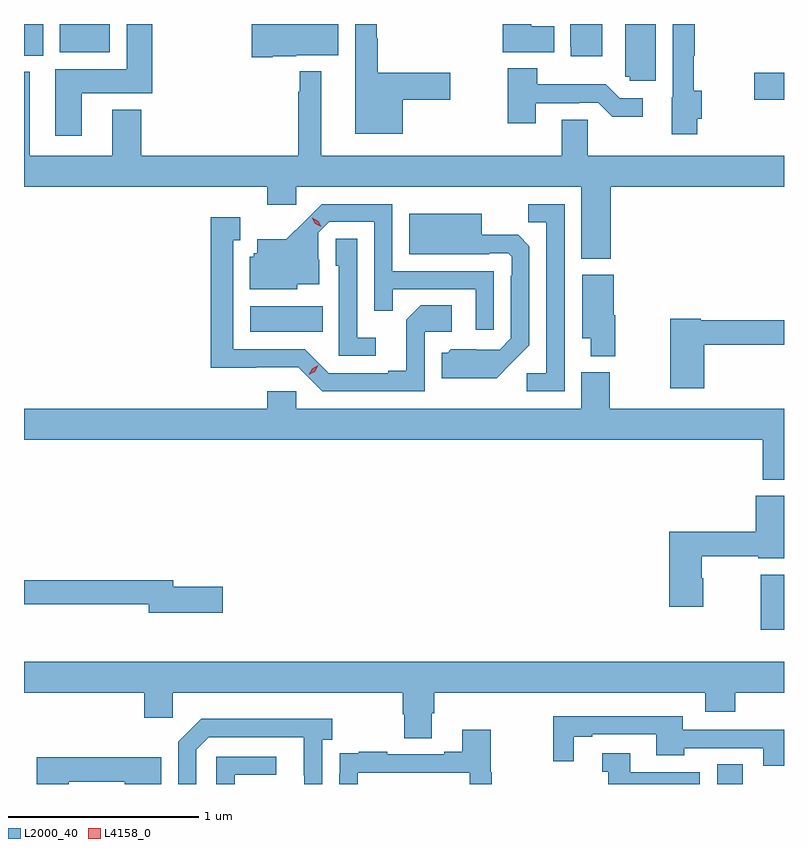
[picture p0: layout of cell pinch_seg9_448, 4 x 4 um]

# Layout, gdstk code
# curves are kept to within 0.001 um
import gdstk
lib = gdstk.Library(unit=1e-6, precision=1e-09)
def R(c, l, rs):  # rectangles x0, y0, x1, y1
    for r in rs: c.add(gdstk.rectangle(r[:2], r[2:], *l))
def P(c, l, *ps):  # polygons
    for p in ps: c.add(gdstk.Polygon(p, *l))
L2000_40 = (2000, 40)
L4158_0 = (4158, 0)

pinch_seg9_448 = lib.new_cell('pinch_seg9_448')
R(pinch_seg9_448, L2000_40, [(259.046,1187.949,259.18,1188.053), (259.276,1188.762,259.398,1189.051), (256.59,1190.33,256.97,1190.464), (259.242,1191.55,259.398,1191.692), (255.398,1191.782,255.499,1191.949), (255.587,1191.8,255.85,1191.949)])
P(pinch_seg9_448, L2000_40, [(258.442,1191.949),(258.273,1191.949),(258.273,1191.828),(258.275,1191.828),(258.275,1191.779),(258.442,1191.779)],
  [(258.724,1191.949),(258.563,1191.949),(258.563,1191.672),(258.585,1191.672),(258.585,1191.651),(258.724,1191.651)],
  [(258.188,1191.938),(258.067,1191.938),(258.067,1191.949),(257.918,1191.949),(257.918,1191.8),(258.188,1191.8)],
  [(258.942,1191.45),(258.964,1191.45),(258.964,1191.599),(258.922,1191.599),(258.922,1191.782),(258.929,1191.782),(258.929,1191.949),(258.813,1191.949),(258.813,1191.564),(258.806,1191.564),(258.806,1191.368),(258.942,1191.368)],
  [(257.392,1191.55),(257.641,1191.55),(257.641,1191.692),(257.26,1191.692),(257.26,1191.875),(257.255,1191.875),(257.255,1191.949),(257.141,1191.949),(257.141,1191.371),(257.392,1191.371)],
  [(256.708,1191.779),(256.83,1191.779),(256.83,1191.785),(257.053,1191.785),(257.053,1191.949),(256.596,1191.949),(256.596,1191.773),(256.708,1191.773)],
  [(255.703,1191.584),(256.073,1191.584),(256.073,1191.949),(255.938,1191.949),(255.938,1191.712),(255.563,1191.712),(255.563,1191.36),(255.703,1191.36)],
  [(258.091,1191.531),(258.32,1191.531),(258.32,1191.534),(258.42,1191.534),(258.493,1191.461),(258.654,1191.461),(258.654,1191.558),(258.534,1191.558),(258.461,1191.631),(258.099,1191.631),(258.099,1191.715),(257.944,1191.715),(257.944,1191.426),(258.091,1191.426)],
  [(258.485,1191.092),(259.398,1191.092),(259.398,1191.256),(258.366,1191.256),(258.366,1191.446),(258.227,1191.446),(258.227,1191.256),(256.963,1191.256),(256.963,1191.7),(256.849,1191.7),(256.849,1191.593),(256.842,1191.593),(256.842,1191.256),(256.016,1191.256),(256.016,1191.499),(255.863,1191.499),(255.863,1191.256),(255.427,1191.256),(255.427,1191.697),(255.398,1191.697),(255.398,1191.092),(256.679,1191.092),(256.679,1190.997),(256.83,1190.997),(256.83,1191.092),(258.332,1191.092),(258.332,1190.714),(258.485,1190.714)],
  [(257.871,1190.649),(257.337,1190.649),(257.337,1191),(256.964,1191),(256.777,1190.815),(256.625,1190.815),(256.625,1190.742),(256.608,1190.742),(256.608,1190.724),(256.586,1190.724),(256.586,1190.552),(256.836,1190.552),(256.836,1190.579),(256.951,1190.579),(256.951,1190.708),(256.947,1190.708),(256.947,1190.85),(257.004,1190.907),(257.241,1190.907),(257.241,1190.44),(257.339,1190.44),(257.339,1190.553),(257.775,1190.553),(257.775,1190.34),(257.871,1190.34)],
  [(258.243,1191),(258.052,1191),(258.052,1190.905),(258.147,1190.905),(258.147,1190.112),(258.045,1190.112),(258.045,1190.016),(258.243,1190.016)],
  [(257.965,1190.165),(258.057,1190.258),(258.057,1190.78),(257.998,1190.839),(257.806,1190.839),(257.806,1190.95),(257.426,1190.95),(257.426,1190.738),(257.846,1190.738),(257.846,1190.742),(257.946,1190.742),(257.964,1190.724),(257.964,1190.624),(257.961,1190.624),(257.961,1190.295),(257.901,1190.235),(257.644,1190.236),(257.628,1190.22),(257.597,1190.22),(257.597,1190.084),(257.885,1190.084)],
  [(257.508,1190.328),(257.65,1190.328),(257.65,1190.468),(257.485,1190.468),(257.409,1190.392),(257.409,1190.125),(257.315,1190.125),(257.315,1190.112),(257.001,1190.112),(256.875,1190.238),(256.498,1190.238),(256.498,1190.811),(256.537,1190.811),(256.537,1190.932),(256.38,1190.932),(256.38,1190.141),(256.842,1190.142),(256.968,1190.016),(257.508,1190.016)],
  [(257.248,1190.299),(257.151,1190.299),(257.151,1190.819),(257.04,1190.819),(257.04,1190.676),(257.055,1190.676),(257.055,1190.202),(257.248,1190.202)],
  [(258.51,1190.415),(258.502,1190.415),(258.502,1190.629),(258.335,1190.629),(258.335,1190.294),(258.38,1190.294),(258.38,1190.201),(258.51,1190.201)],
  [(258.977,1190.262),(259.398,1190.262),(259.398,1190.39),(258.96,1190.39),(258.96,1190.398),(258.799,1190.398),(258.799,1190.031),(258.977,1190.031)],
  [(259.398,1189.924),(258.48,1189.924),(258.48,1190.116),(258.332,1190.116),(258.332,1189.924),(256.83,1189.924),(256.83,1190.017),(256.679,1190.017),(256.679,1189.924),(255.398,1189.924),(255.398,1189.76),(259.285,1189.76),(259.285,1189.55),(259.398,1189.55)],
  [(258.972,1189.032),(258.964,1189.032),(258.964,1189.147),(259.262,1189.147),(259.262,1189.136),(259.398,1189.136),(259.398,1189.465),(259.25,1189.465),(259.25,1189.276),(258.794,1189.276),(258.794,1188.882),(258.972,1188.882)],
  [(256.444,1188.986),(256.183,1188.986),(256.183,1189.022),(255.398,1189.022),(255.398,1188.894),(256.055,1188.894),(256.055,1188.851),(256.444,1188.851)],
  [(257.545,1188.322),(257.558,1188.322),(257.558,1188.428),(258.983,1188.428),(258.983,1188.329),(259.142,1188.329),(259.142,1188.428),(259.398,1188.428),(259.398,1188.592),(255.398,1188.592),(255.398,1188.428),(256.031,1188.428),(256.031,1188.297),(256.182,1188.297),(256.182,1188.428),(257.392,1188.428),(257.392,1188.315),(257.398,1188.315),(257.398,1188.19),(257.545,1188.19)],
  [(259.398,1188.234),(258.865,1188.234),(258.865,1188.306),(258.183,1188.306),(258.183,1188.069),(258.292,1188.069),(258.292,1188.198),(258.388,1188.198),(258.388,1188.21),(258.725,1188.21),(258.725,1188.101),(258.873,1188.101),(258.873,1188.138),(259.289,1188.138),(259.289,1188.045),(259.398,1188.045)],
  [(256.305,1188.129),(256.371,1188.195),(256.871,1188.195),(256.872,1187.949),(256.968,1187.949),(256.968,1188.182),(257.02,1188.182),(257.02,1188.292),(256.33,1188.292),(256.209,1188.171),(256.209,1187.949),(256.305,1187.949)],
  [(257.154,1188.009),(257.745,1188.009),(257.745,1187.949),(257.861,1187.949),(257.861,1188.012),(257.854,1188.012),(257.854,1188.235),(257.705,1188.235),(257.705,1188.118),(257.609,1188.118),(257.609,1188.105),(257.309,1188.105),(257.309,1188.118),(257.161,1188.118),(257.161,1188.111),(257.059,1188.111),(257.059,1188.002),(257.058,1188.002),(257.058,1187.949),(257.154,1187.949)],
  [(258.954,1188.012),(258.589,1188.012),(258.589,1188.111),(258.441,1188.111),(258.441,1188.014),(258.472,1188.014),(258.472,1187.949),(258.954,1187.949)],
  [(256.506,1187.997),(256.726,1187.997),(256.726,1188.093),(256.41,1188.093),(256.41,1187.949),(256.506,1187.949)],
  [(255.634,1187.962),(255.928,1187.962),(255.928,1187.949),(256.12,1187.949),(256.12,1188.091),(255.464,1188.091),(255.464,1187.949),(255.634,1187.949)])
P(pinch_seg9_448, L4158_0, [(256.963,1190.882),(256.932,1190.898),(256.915,1190.927),(256.915,1190.928),(256.915,1190.928),(256.946,1190.912),(256.963,1190.883),(256.963,1190.882)],
  [(256.896,1190.102),(256.896,1190.102),(256.914,1190.135),(256.946,1190.153),(256.946,1190.153),(256.946,1190.153),(256.928,1190.12),(256.897,1190.102)])

lib.write_gds('pinch_seg9_448.gds')
